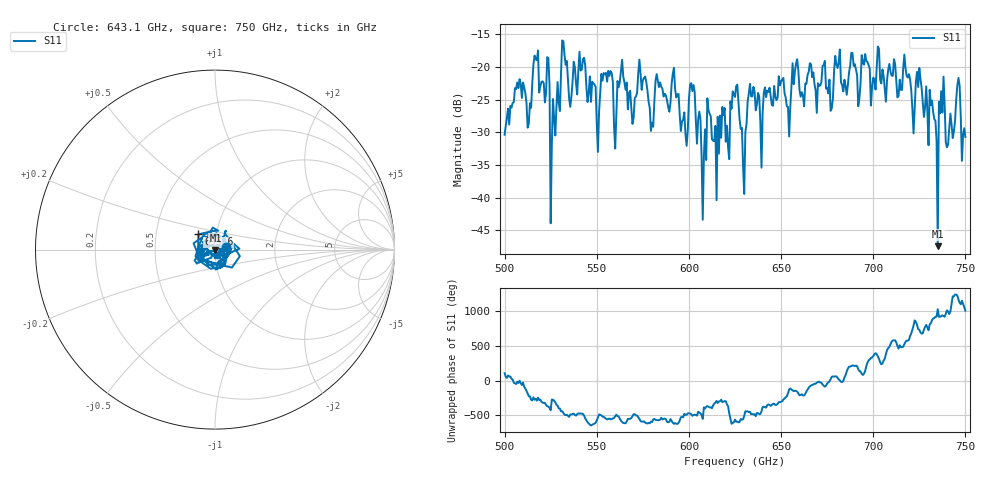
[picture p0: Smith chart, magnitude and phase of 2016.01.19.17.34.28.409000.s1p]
!Created with skrf (http://scikit-rf.org).
# GHz S RI R 50.0
!freq ReS11 ImS11
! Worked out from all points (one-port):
!   401 points, 500 GHz to 750 GHz, reference 50 ohm
!   lowest |S11| = -47.4 dB at 735 GHz (marker M1), VSWR 1.01, Z = 50.3 - j0.339 ohm
!   |S11| at or under -10 dB: start of sweep to end of sweep
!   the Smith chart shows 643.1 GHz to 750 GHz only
!   S11 on the Smith chart (normalised r, x): 643.1 GHz: 1.13, +0.04; 695.6 GHz: 0.82, +0.14; 750 GHz: 1.02, -0.06
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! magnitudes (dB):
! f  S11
! 500 GHz  -30.4
! 507.5 GHz  -23.2
! 513.1 GHz  -28.7
! 516.9 GHz  -18.8
! 523.1 GHz  -18.5
! 526.2 GHz  -24.9
! 531.2 GHz  -15.9
! 550.6 GHz  -33.0
! 562.5 GHz  -22.3
! 593.8 GHz  -24.2
! 598.1 GHz  -30.3
! 601.9 GHz  -23.7
! 608.1 GHz  -33.7
! 611.2 GHz  -27.2
! 615 GHz  -40.4
! 625 GHz  -24.6
! 629.4 GHz  -35.2
! 633.8 GHz  -24.5
! 643.1 GHz  -23.8
! 656.2 GHz  -19.4
! 687.5 GHz  -19.7
! 695.6 GHz  -18.0
! 718.8 GHz  -21.6
! 735 GHz  -47.4
! 736.9 GHz  -23.7
! 740.6 GHz  -31.8
! 746.2 GHz  -21.7
! 750 GHz  -30.7
